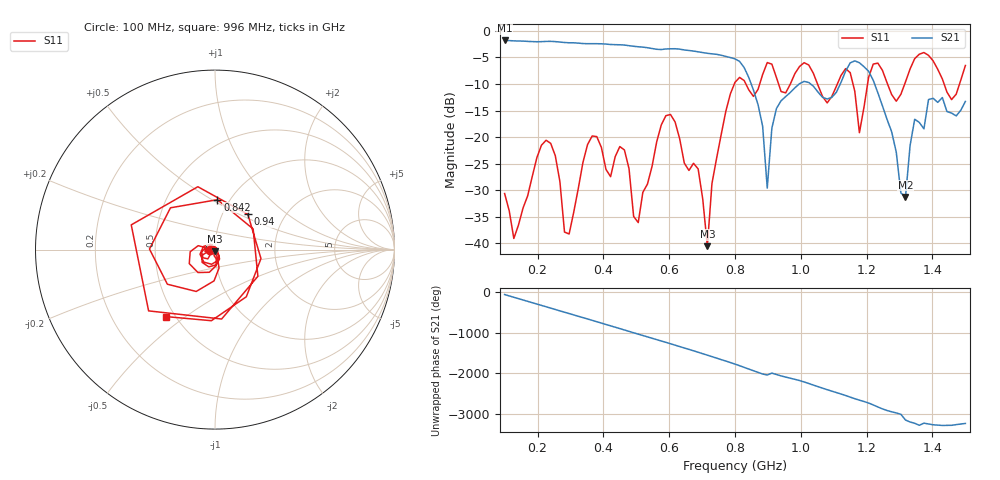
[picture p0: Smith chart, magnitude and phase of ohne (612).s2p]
! NanoVNA-App
! Date: 2025-09-25 14:25:34
! Start: 100MHz Stop: 1,5GHz Points: 101
! S-Parameter data: F S11 S21 S12 S22
# Hz S RI R 50
!  Frequency  S11_Real  S11_Imag  S21_Real  S21_Imag  S12_Real  S12_Imag  S22_Real  S22_Imag
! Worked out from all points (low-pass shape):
!   101 points, 100 MHz to 1.5 GHz, reference 50 ohm
!   highest |S21| = -1.79 dB at 100 MHz (marker M1); lowest = -31.3 dB at 1.318 GHz (marker M2)
!   |S21| within 3 dB of the highest: start of sweep to 771.4 MHz
!   lowest |S11| = -40.6 dB at 716 MHz (marker M3), VSWR 1.02, Z = 49.7 - j0.893 ohm
!   |S11| at or under -10 dB: start of sweep to 797.9 MHz; 833.1 MHz to 875.1 MHz (41.94 MHz wide, 4.91 % of centre); 1.051 GHz to 1.111 GHz (60.23 MHz wide, 5.57 % of centre) (the widest 3 of 7)
!   S12 and S22 are empty: the file has one direction only
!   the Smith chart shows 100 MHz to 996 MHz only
!   S11 on the Smith chart (normalised r, x): 100 MHz: 0.94, -0.01; 842 MHz: 0.88, +0.53; 940 MHz: 1.31, +0.56; 996 MHz: 0.45, -0.42
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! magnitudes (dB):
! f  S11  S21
! 100 MHz  -30.6  -1.8
! 128 MHz  -39.1  -1.9
! 226 MHz  -20.6  -2.0
! 296 MHz  -38.3  -2.2
! 338 MHz  -24.8  -2.4
! 464 MHz  -22.4  -2.7
! 506 MHz  -36.1  -3.0
! 576 MHz  -17.7  -3.5
! 688 MHz  -26.0  -3.9
! 716 MHz  -40.6  -4.2
! 800 MHz  -9.7  -5.3
! 842 MHz  -11.1  -8.8
! 898 MHz  -6.0  -29.6
! 940 MHz  -11.4  -13.2
! 996 MHz  -6.7  -9.9
! 1.038 GHz  -8.0  -10.4
! 1.178 GHz  -19.2  -6.0
! 1.22 GHz  -6.2  -9.3
! 1.276 GHz  -12.0  -19.0
! 1.318 GHz  -9.6  -31.3
! 1.346 GHz  -5.2  -16.6
! 1.5 GHz  -6.5  -13.3
